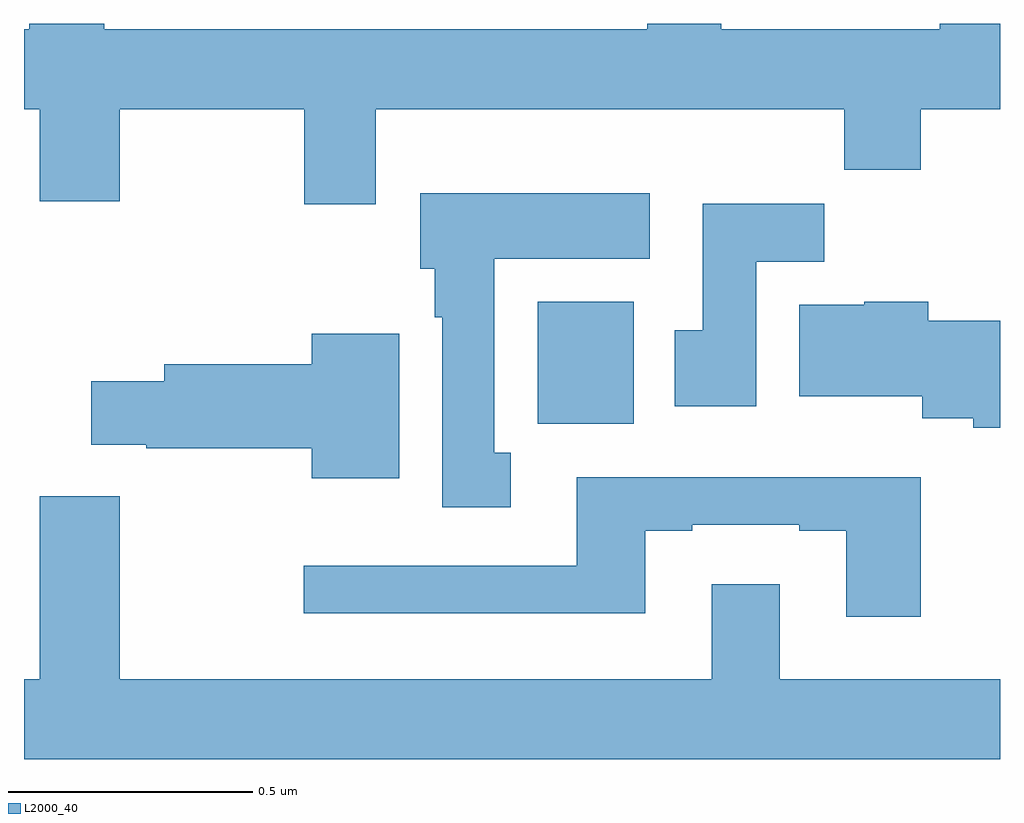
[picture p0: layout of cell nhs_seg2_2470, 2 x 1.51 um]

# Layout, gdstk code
import gdstk
lib = gdstk.Library(unit=1e-6, precision=1e-09)
def R(c, l, rs):  # rectangles x0, y0, x1, y1
    for r in rs: c.add(gdstk.rectangle(r[:2], r[2:], *l))
def P(c, l, *ps):  # polygons
    for p in ps: c.add(gdstk.Polygon(p, *l))
L2000_40 = (2000, 40)

nhs_seg2_2470 = lib.new_cell('nhs_seg2_2470')
R(nhs_seg2_2470, L2000_40, [(142.053,658.98,142.249,659.23)])
P(nhs_seg2_2470, L2000_40, [(141.721,659.624),(142.681,659.624),(142.681,659.5),(142.838,659.5),(142.838,659.624),(143,659.624),(143,659.8),(142.877,659.8),(142.877,659.788),(142.429,659.788),(142.429,659.8),(142.277,659.8),(142.277,659.788),(141.164,659.788),(141.164,659.8),(141.011,659.8),(141.011,659.788),(141,659.788),(141,659.624),(141.032,659.624),(141.032,659.436),(141.196,659.436),(141.196,659.624),(141.574,659.624),(141.574,659.43),(141.721,659.43)],
  [(141.997,658.921),(141.964,658.921),(141.964,659.318),(142.282,659.318),(142.282,659.452),(141.812,659.452),(141.812,659.298),(141.842,659.298),(141.842,659.198),(141.857,659.198),(141.857,658.809),(141.997,658.809)],
  [(142.501,659.312),(142.64,659.312),(142.64,659.431),(142.391,659.431),(142.391,659.172),(142.334,659.172),(142.334,659.016),(142.501,659.016)],
  [(143,659.191),(142.853,659.191),(142.853,659.23),(142.722,659.23),(142.722,659.224),(142.589,659.224),(142.589,659.036),(142.841,659.036),(142.841,658.991),(142.945,658.991),(142.945,658.972),(143,658.972)],
  [(141.769,659.164),(141.59,659.164),(141.59,659.102),(141.287,659.102),(141.287,659.067),(141.138,659.067),(141.138,658.937),(141.25,658.937),(141.25,658.93),(141.59,658.93),(141.59,658.868),(141.769,658.868)],
  [(142.838,658.87),(142.133,658.87),(142.133,658.689),(141.573,658.689),(141.573,658.592),(142.273,658.592),(142.273,658.761),(142.369,658.761),(142.369,658.773),(142.589,658.773),(142.589,658.761),(142.685,658.761),(142.685,658.584),(142.838,658.584)],
  [(143,658.456),(142.549,658.456),(142.549,658.651),(142.409,658.651),(142.409,658.456),(141.196,658.456),(141.196,658.831),(141.032,658.831),(141.032,658.456),(141,658.456),(141,658.292),(143,658.292)])

lib.write_gds('nhs_seg2_2470.gds')
